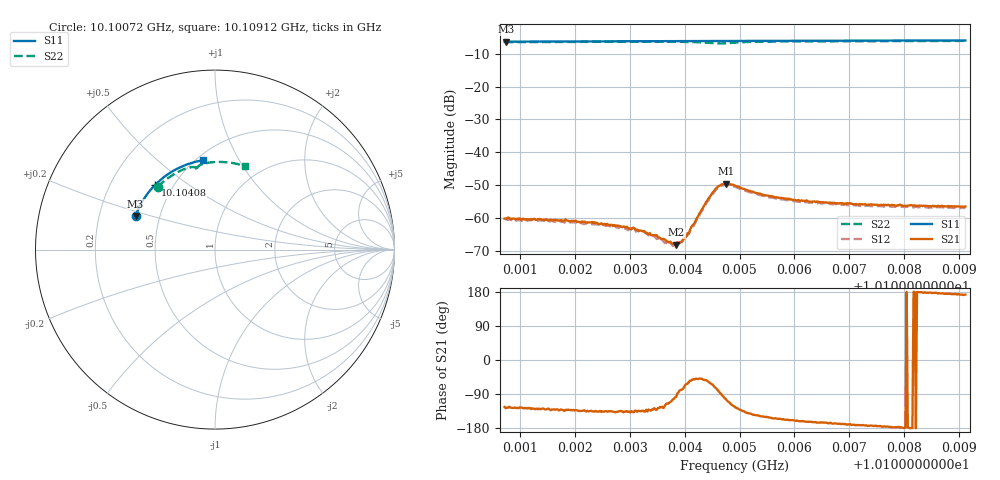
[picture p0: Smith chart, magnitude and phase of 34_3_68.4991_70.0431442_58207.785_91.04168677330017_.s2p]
#  HZ  S  RI  R  50.00
! Rohde & Schwarz Vector Network Analyzer
! Rohde-Schwarz,ZNB20-2Port,1311601062101988,3.16
! Created: UTC 3/20/2024, 5:05:13 PM
! freq[Hz]  re:S11  im:S11  re:S21  im:S21  re:S12  im:S12  re:S22  im:S22
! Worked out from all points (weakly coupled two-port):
!   401 points, 10.10072 GHz to 10.10912 GHz, reference 50 ohm
!   highest |S21| = -49.57 dB at 10.10475 GHz (marker M1); lowest = -68.1 dB at 10.10385 GHz (marker M2)
!   lowest |S11| = -6.4 dB at 10.10074 GHz (marker M3), VSWR 2.85, Z = 18.2 + j8.89 ohm
!   |S11| at or under -10 dB: nowhere
!   |S22| runs from -6.9 to -6.1 dB; largest |S21 - S12| = 0.00034
!   S11 on the Smith chart (normalised r, x): 10.10072 GHz: 0.36, +0.18; 10.10408 GHz: 0.40, +0.38; 10.10912 GHz: 0.54, +0.72
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1.0100716e10  -0.4429 0.1871  -0.000548 -0.00081  -0.000478 -0.000822  -0.3193 0.3493
1.0100737e10  -0.4424 0.188  -0.000592 -0.000781  -0.000486 -0.00084  -0.3181 0.3503
1.0102123e10  -0.4068 0.2647  -0.000619 -0.000634  -0.000526 -0.000635  -0.2489 0.4075
1.0102691e10  -0.3885 0.2938  -0.000545 -0.00052  -0.000494 -0.000577  -0.2171 0.4268
1.0103111e10  -0.3737 0.3145  -0.000451 -0.00047  -0.000397 -0.000474  -0.1922 0.4398
1.0103279e10  -0.3672 0.3226  -0.000443 -0.000425  -0.000369 -0.000469  -0.1816 0.4443
1.0103531e10  -0.3575 0.3344  -0.000301 -0.000405  -0.000248 -0.000384  -0.1655 0.4508
1.0103678e10  -0.3516 0.3412  -0.000183 -0.0004  -0.000141 -0.000379  -0.1556 0.4541
1.0103804e10  -0.3467 0.3467  -8.33e-05 -0.000393  -3.32e-05 -0.000403  -0.1467 0.4565
1.0103846e10  -0.3447 0.3488  -4.79e-05 -0.00039  -4.81e-06 -0.000386  -0.1437 0.4574
1.0103972e10  -0.3396 0.3543  0.000124 -0.000465  0.000177 -0.000423  -0.1343 0.4592
1.0104077e10  -0.3351 0.359  0.000313 -0.000494  0.000365 -0.000449  -0.1259 0.4601
1.0104392e10  -0.3215 0.3723  0.00104 -0.00141  0.0011 -0.00124  -0.101 0.4545
1.0104539e10  -0.315 0.3783  0.000878 -0.00245  0.00106 -0.00225  -0.0953 0.4452
1.0104644e10  -0.3101 0.3823  0.000184 -0.00312  0.000454 -0.00298  -0.0983 0.4407
1.0104749e10  -0.3055 0.3865  -0.00078 -0.00323  -0.000451 -0.00315  -0.1028 0.4431
1.0104917e10  -0.2978 0.3932  -0.00176 -0.00256  -0.00146 -0.0026  -0.1019 0.4549
1.0105442e10  -0.2727 0.4126  -0.00193 -0.00113  -0.00176 -0.00124  -0.0682 0.4771
1.0105946e10  -0.2473 0.4297  -0.00179 -0.000694  -0.00165 -0.000779  -0.0335 0.4846
1.0106324e10  -0.2275 0.4415  -0.0017 -0.000492  -0.00158 -0.000645  -0.00826 0.4875
1.0107732e10  -0.1502 0.4765  -0.00156 -9.66e-05  -0.00149 -0.000232  0.0831 0.4844
1.0109118e10  -0.0689 0.4974  -0.00149 0.000191  -0.0014 5.22e-05  0.1696 0.4644
